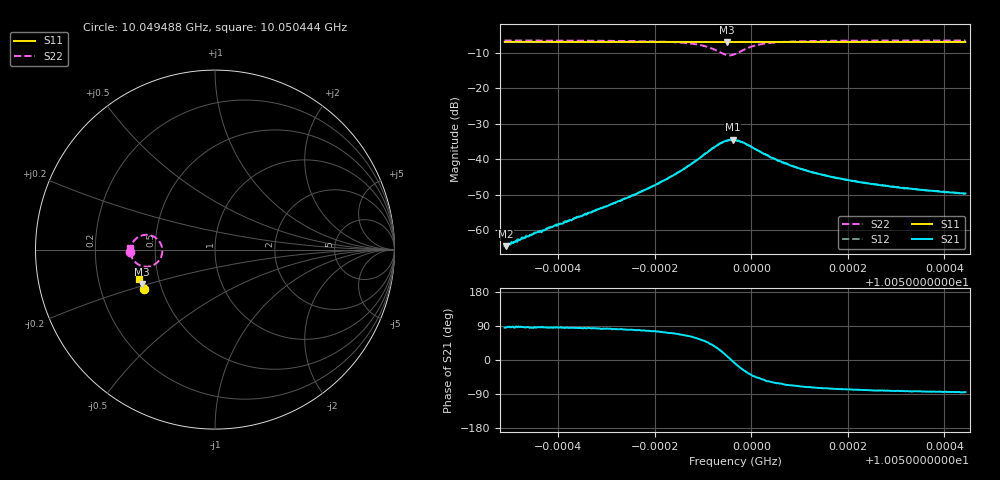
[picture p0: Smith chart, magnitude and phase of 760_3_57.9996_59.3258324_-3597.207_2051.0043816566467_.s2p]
#  HZ  S  RI  R  50.00
! Rohde & Schwarz Vector Network Analyzer
! Rohde-Schwarz,ZNB20-2Port,1311601062101988,3.16
! Created: UTC 3/21/2024, 1:24:22 AM
! freq[Hz]  re:S11  im:S11  re:S21  im:S21  re:S12  im:S12  re:S22  im:S22
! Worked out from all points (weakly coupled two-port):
!   401 points, 10.049488 GHz to 10.050444 GHz, reference 50 ohm
!   highest |S21| = -34.45 dB at 10.049961 GHz (marker M1); lowest = -64.5 dB at 10.049491 GHz (marker M2)
!   lowest |S11| = -6.9 dB at 10.049949 GHz (marker M3), VSWR 2.64, Z = 19.7 - j9.56 ohm
!   |S11| at or under -10 dB: nowhere
!   |S22| runs from -10.6 to -6.5 dB; largest |S21 - S12| = 0.0013
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1.00494884e10  -0.3963 -0.221  4.98e-05 0.000604  -3.91e-06 0.000604  -0.4736 -0.0136
1.00494908e10  -0.3964 -0.2208  4.51e-05 0.000596  -2.09e-05 0.000609  -0.4737 -0.0135
1.00495362e10  -0.3977 -0.2181  4.35e-05 0.000823  -3.68e-07 0.000829  -0.4732 -0.00838
1.00495696e10  -0.3986 -0.2162  6.31e-05 0.000997  1.07e-05 0.001  -0.4729 -0.00444
1.00495791e10  -0.399 -0.2156  8.69e-05 0.00108  2.89e-05 0.00108  -0.4726 -0.00327
1.00496484e10  -0.401 -0.2114  0.000158 0.00157  3.83e-05 0.00162  -0.4711 0.00645
1.00497439e10  -0.4039 -0.2055  0.000503 0.00286  0.000342 0.00291  -0.4658 0.0243
1.00498084e10  -0.4057 -0.2016  0.00121 0.00446  0.000979 0.00457  -0.4562 0.043
1.0049849e10  -0.4067 -0.1989  0.00246 0.00613  0.00214 0.00627  -0.4413 0.0599
1.0049892e10  -0.4075 -0.1961  0.00594 0.0085  0.00552 0.00879  -0.404 0.0796
1.00499254e10  -0.4076 -0.1939  0.0126 0.00854  0.0121 0.00923  -0.3405 0.0721
1.00499374e10  -0.4076 -0.1933  0.0158 0.00683  0.0152 0.00747  -0.3138 0.0504
1.00499493e10  -0.4076 -0.1929  0.0181 0.00334  0.0178 0.00428  -0.2958 0.0148
1.00499612e10  -0.4078 -0.1927  0.0189 -0.00121  0.0188 -0.000102  -0.296 -0.0275
1.0049966e10  -0.4079 -0.1927  0.0184 -0.00287  0.0184 -0.00175  -0.3014 -0.0434
1.00499899e10  -0.4089 -0.1919  0.0138 -0.00864  0.0143 -0.00767  -0.3536 -0.0905
1.00500233e10  -0.4104 -0.1901  0.00766 -0.00953  0.00824 -0.00903  -0.4148 -0.089
1.00500639e10  -0.4118 -0.1876  0.00413 -0.00801  0.00459 -0.00783  -0.4472 -0.0673
1.0050126e10  -0.4138 -0.1838  0.00198 -0.00626  0.00242 -0.00615  -0.4642 -0.0421
1.00502072e10  -0.4158 -0.1786  0.00104 -0.00489  0.00133 -0.00483  -0.471 -0.022
1.0050286e10  -0.4177 -0.1738  0.000621 -0.00412  0.000902 -0.0041  -0.4736 -0.00862
1.00504436e10  -0.4214 -0.1641  0.000304 -0.00328  0.000494 -0.00324  -0.4748 0.0102
